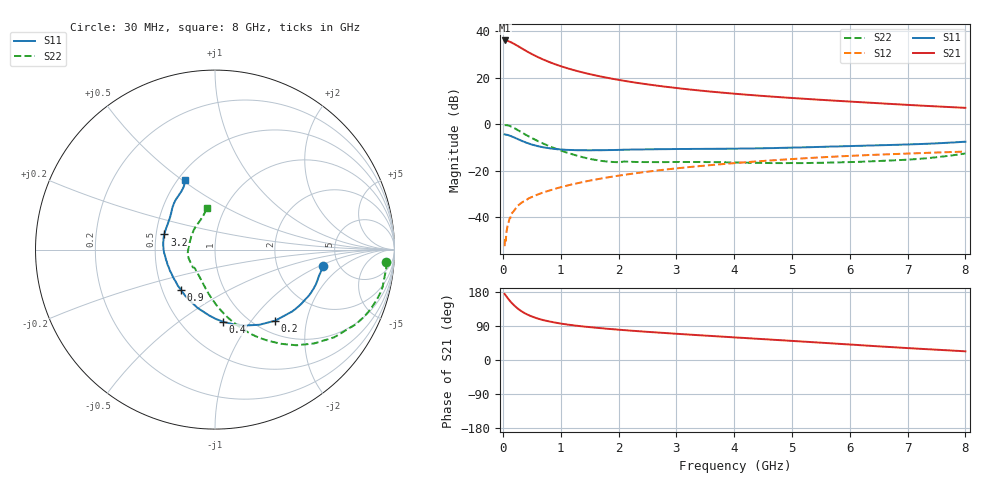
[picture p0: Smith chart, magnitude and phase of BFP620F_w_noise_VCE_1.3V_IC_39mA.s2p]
! Infineon Technologies  Discrete & RF Semiconductors
! BFP620F
! VCE =  1.3 V,  IC =  39 mA
! Common Emitter S-Parameters:  Dec 2014
# GHz  S  MA  R  50
!  f  S11  S21  S12  S22
! GHz  MAG  ANG  MAG  ANG  MAG  ANG  MAG  ANG
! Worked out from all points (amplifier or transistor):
!   95 points, 30 MHz to 8 GHz, reference 50 ohm
!   highest |S21| = 36.0 dB at 30 MHz (marker M1)
!   |S21| within 3 dB of that: start of sweep to 300.2 MHz
!   unconditionally stable (mu >= 1): 2.207 GHz to end of sweep
!   at 300 MHz: K = 0.44, MSG = 33.6 dB, |S12| = -34.2 dB
!   at 3.3 GHz: K = 1.03, MAG = 15.5 dB, |S12| = -18.2 dB
!   at 8 GHz: K = 1.05, MAG = 8.0 dB, |S12| = -11.7 dB
!   lowest NFmin = 1.34 dB at 450 MHz
!   S11 on the Smith chart (normalised r, x): 30 MHz: 3.75, -1.11; 200 MHz: 1.22, -1.32; 400 MHz: 0.78, -0.75; 900 MHz: 0.62, -0.31; 3.2 GHz: 0.55, +0.10; 8 GHz: 0.54, +0.52
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0.03  0.6079 -8.8  63.36 174.3  0.0024 86.2  0.9573 -4.2
0.07  0.5945 -19.0  62.59 166.1  0.0055 90.2  0.9568 -12.5
0.12  0.5682 -32.1  59.35 156.2  0.0098 81.4  0.9184 -22.8
0.15  0.5501 -39.0  57.2 151.1  0.012 77.7  0.8858 -28.2
0.2  0.5187 -49.8  52.96 143.4  0.0142 73.2  0.824 -36.4
0.25  0.486 -59.5  48.84 136.6  0.0174 69.4  0.76 -43.5
0.3  0.4555 -68.2  44.87 130.9  0.0196 67.4  0.6999 -49.6
0.35  0.4289 -76.1  41.13 126.0  0.0217 66.6  0.6426 -54.8
0.4  0.4049 -83.5  37.89 121.7  0.0233 65.2  0.591 -59.5
0.5  0.367 -95.5  32.34 114.9  0.0273 64.6  0.5071 -67.3
0.6  0.3399 -106.2  28 109.5  0.0309 64.4  0.4383 -73.8
0.7  0.3196 -115.1  24.59 105.2  0.0343 64.3  0.3841 -79.5
0.9  0.2943 -129.8  19.6 98.8  0.041 64.4  0.3037 -89.3
1.1  0.2818 -141.5  16.21 93.9  0.0477 64.8  0.2476 -98.4
1.4  0.2772 -155.1  12.84 88.3  0.058 64.5  0.1935 -111.8
2  0.2813 -174.0  9.013 80.0  0.0787 62.8  0.153 -138.6
2.7  0.2915 171.5  6.689 72.3  0.1026 59.5  0.1536 -156.7
3.2  0.2946 163.3  5.654 67.3  0.1195 56.8  0.1547 -164.9
4.1  0.3002 150.9  4.442 58.8  0.1493 51.3  0.1502 -177.5
5.4  0.3245 138.1  3.417 46.6  0.1916 42.2  0.1483 157.6
6.7  0.3591 125.7  2.743 34.2  0.2274 32.2  0.1666 130.6
8  0.4227 112.9  2.256 22.8  0.2587 22.6  0.2352 100.6
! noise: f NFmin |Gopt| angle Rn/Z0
0.45  1.34  0.14  -173  0.16
0.9  1.36  0.14  -172  0.13
1.5  1.37  0.19  -151  0.11
1.8  1.38  0.19  -151  0.12
1.9  1.39  0.19  -150  0.12
2.4  1.41  0.2  214  0.14
3.5  1.47  0.2  220  0.17
5.5  1.61  0.26  246  0.16
6  1.65  0.27  261  0.2
